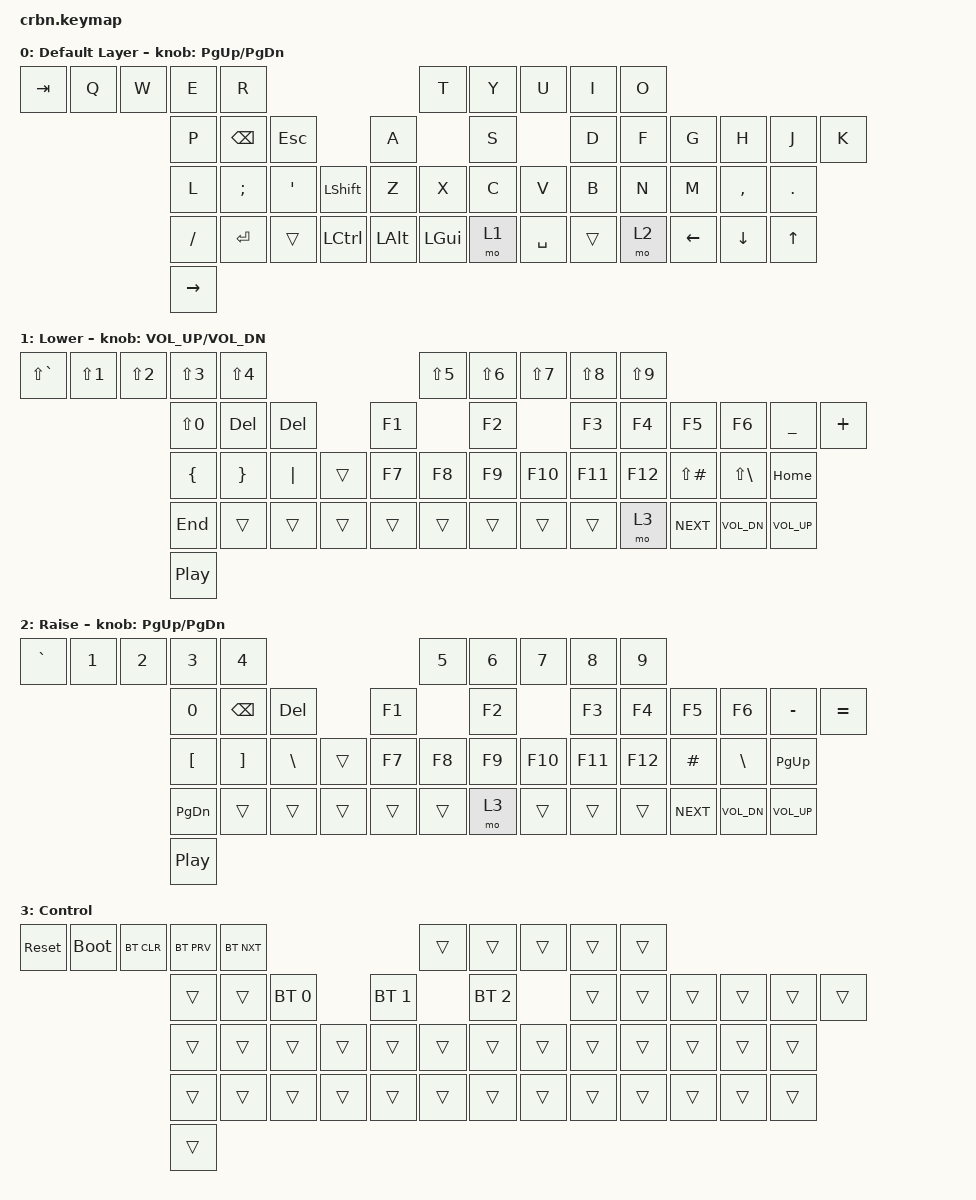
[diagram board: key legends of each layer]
/*
 * Copyright (c) 2020 The ZMK Contributors
 *
 * SPDX-License-Identifier: MIT
 */

#include <behaviors.dtsi>
#include <dt-bindings/zmk/keys.h>
#include <dt-bindings/zmk/bt.h>

/ {
    keymap {
        compatible = "zmk,keymap";

        default_layer {
            display-name = "Default Layer";
            // -----------------------------------------------------------------------------------------
            // |  TAB  |  Q   |  W   |  E   |  R   |  T   |   Y   |  U    |  I   |  O   |   P   | BSPC  |
            // |  ESC  |  A   |  S   |  D   |  F   |  G   |   H   |  J    |  K   |  L   |   ;   |  '    |
            // | SHIFT |  Z   |  X   |  C   |  V   |  B   |   N   |  M    |  ,   |  .   |   /   |  RET  |
            // |       | LCTRL | LALT | LGUI | LOWR |     SPACE    |  RAIS | LEFT | DOWN | UP  |  RIGHT |
            bindings = <&kp TAB &kp Q &kp W &kp E &kp R &kp T &kp Y &kp U &kp I &kp O &kp P &kp BSPC
                        &kp ESC &kp A &kp S &kp D &kp F &kp G &kp H &kp J &kp K &kp L &kp SEMI &kp SQT
                        &kp LSHFT &kp Z &kp X &kp C &kp V &kp B &kp N &kp M &kp COMMA &kp DOT &kp SLASH &kp RET
                        &trans &kp LCTRL &kp LALT &kp LGUI &mo 1 &kp SPACE &trans &mo 2 &kp LEFT &kp DOWN &kp UP &kp
                        RIGHT>;

            sensor-bindings = <&inc_dec_kp PG_UP PG_DN>;
        };

        lower {
            display-name = "Lower";
            bindings = <&kp LS(GRAVE) &kp LS(N1) &kp LS(N2) &kp LS(N3) &kp LS(N4) &kp LS(N5) &kp LS(N6) &kp LS(N7) &kp
                        LS(N8) &kp LS(N9) &kp LS(N0) &kp DEL &kp DEL &kp F1 &kp F2 &kp F3 &kp F4 &kp F5 &kp F6 &kp UNDER
                        &kp PLUS &kp LBRC &kp RBRC &kp PIPE &trans &kp F7 &kp F8 &kp F9 &kp F10 &kp F11 &kp F12 &kp
                        LS(HASH) &kp LS(BSLH) &kp HOME &kp END &trans &trans &trans &trans &trans &trans &trans &trans
                        &mo 3 &kp C_NEXT &kp C_VOL_DN &kp C_VOL_UP &kp C_PP>;

            sensor-bindings = <&inc_dec_kp C_VOL_UP C_VOL_DN>;
        };

        raise {
            display-name = "Raise";
            bindings = <&kp GRAVE &kp N1 &kp N2 &kp N3 &kp N4 &kp N5 &kp N6 &kp N7 &kp N8 &kp N9 &kp N0 &kp BSPC
                        &kp DEL &kp F1 &kp F2 &kp F3 &kp F4 &kp F5 &kp F6 &kp MINUS &kp EQUAL &kp LBKT &kp RBKT &kp BSLH
                        &trans &kp F7 &kp F8 &kp F9 &kp F10 &kp F11 &kp F12 &kp HASH &kp BSLH &kp PG_UP &kp PG_DN &trans
                        &trans &trans &trans &trans &mo 3 &trans &trans &trans &kp C_NEXT &kp C_VOL_DN &kp C_VOL_UP &kp
                        C_PP>;

            sensor-bindings = <&inc_dec_kp PG_UP PG_DN>;
        };

        control {
            display-name = "Control";
            bindings = <&sys_reset &bootloader &bt BT_CLR &bt BT_PRV &bt BT_NXT &trans &trans &trans &trans &trans
                        &trans &trans &bt BT_SEL 0 &bt BT_SEL 1 &bt BT_SEL 2 &trans &trans &trans &trans &trans &trans
                        &trans &trans &trans &trans &trans &trans &trans &trans &trans &trans &trans &trans &trans
                        &trans &trans &trans &trans &trans &trans &trans &trans &trans &trans &trans &trans &trans
                        &trans>;
        };
    };
};
